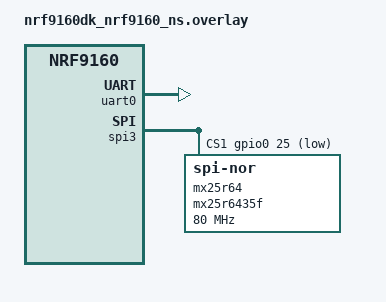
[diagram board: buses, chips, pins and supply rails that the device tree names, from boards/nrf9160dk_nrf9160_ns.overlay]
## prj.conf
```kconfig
#
# Copyright (c) 2020 Nordic Semiconductor ASA
#
# SPDX-License-Identifier: LicenseRef-Nordic-5-Clause
#
# General config
CONFIG_LOG=y
CONFIG_LOG_DEFAULT_LEVEL=3
CONFIG_STACK_SENTINEL=y
CONFIG_NEWLIB_LIBC=y
CONFIG_NEWLIB_LIBC_FLOAT_PRINTF=y
CONFIG_RING_BUFFER=y

# Segger RTT
CONFIG_USE_SEGGER_RTT=y
CONFIG_RTT_CONSOLE=y
CONFIG_UART_CONSOLE=n
CONFIG_LOG_BACKEND_RTT=y
CONFIG_LOG_BACKEND_UART=n

# Network
CONFIG_NETWORKING=y
CONFIG_NET_SOCKETS=y
CONFIG_NET_NATIVE=n

# Modem library
CONFIG_NRF_MODEM_LIB=y
# Align the max FD entry to NRF_MODEM_MAX_SOCKET_COUNT(8)
CONFIG_POSIX_MAX_FDS=8

# Handle modem fault
CONFIG_NRF_MODEM_LIB_ON_FAULT_APPLICATION_SPECIFIC=y

# Use GPIO
CONFIG_GPIO=y
CONFIG_GPIO_NRFX=y

# UART interface
CONFIG_SERIAL=y
CONFIG_UART_ASYNC_API=y
CONFIG_NRFX_TIMER2=y

# Stacks and heaps
CONFIG_MAIN_STACK_SIZE=4096
CONFIG_HEAP_MEM_POOL_SIZE=16384
CONFIG_SYSTEM_WORKQUEUE_STACK_SIZE=4096
CONFIG_AT_MONITOR_HEAP_SIZE=4096

# Device power management
CONFIG_PM_DEVICE=y

# FOTA
CONFIG_HTTP_PARSER_URL=y
CONFIG_FOTA_DOWNLOAD=y
CONFIG_FOTA_DOWNLOAD_PROGRESS_EVT=y
CONFIG_DFU_TARGET=y
CONFIG_DOWNLOAD_CLIENT=y
CONFIG_DOWNLOAD_CLIENT_STACK_SIZE=4096
CONFIG_DOWNLOAD_CLIENT_MAX_FILENAME_SIZE=2048
CONFIG_BOOTLOADER_MCUBOOT=y
CONFIG_IMG_MANAGER=y

# FLASH
CONFIG_FLASH=y
CONFIG_FLASH_PAGE_LAYOUT=y
CONFIG_FLASH_MAP=y
CONFIG_STREAM_FLASH=y
CONFIG_MPU_ALLOW_FLASH_WRITE=y
CONFIG_IMG_ERASE_PROGRESSIVELY=y

# Settings
CONFIG_SETTINGS=y
CONFIG_SETTINGS_FCB=y
CONFIG_FCB=y

# nRF Cloud
CONFIG_NRF_CLOUD_IPV6=n
CONFIG_NRF_CLOUD_MQTT=y
CONFIG_NRF_CLOUD_FOTA=n
CONFIG_NRF_CLOUD_AGPS=y
CONFIG_NRF_CLOUD_AGPS_FILTERED=n
CONFIG_NRF_CLOUD_PGPS=n
CONFIG_NRF_CLOUD_LOCATION=y
CONFIG_NRF_CLOUD_LOG_LEVEL_INF=y
CONFIG_NRF_CLOUD_GPS_LOG_LEVEL_INF=y
CONFIG_NRF_CLOUD_CLIENT_ID_SRC_INTERNAL_UUID=y
CONFIG_DATE_TIME=y
CONFIG_MODEM_INFO=y
CONFIG_MODEM_INFO_ADD_DATE_TIME=n

# UUID and JWT
CONFIG_MODEM_JWT=y

#
# SLM-specific configurations
#
CONFIG_SLM_CUSTOMIZED=n
CONFIG_SLM_LOG_LEVEL_INF=y
CONFIG_SLM_EXTERNAL_XTAL=n
CONFIG_SLM_START_SLEEP=n
CONFIG_SLM_DATAMODE_URC=n

# Debug configurations
#CONFIG_LOG_PRINTK=n

# Full fota definitions
CONFIG_NRF_CLOUD_FOTA_FULL_MODEM_UPDATE=y
CONFIG_FMFU_FDEV_SKIP_PREVALIDATION=n

# Full modem firmware URI check
CONFIG_SYS_HASH_FUNC32=y
CONFIG_SYS_HASH_FUNC32_CHOICE_MURMUR3=y
```

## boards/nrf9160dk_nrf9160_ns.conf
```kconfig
#
# Copyright (c) 2021 Nordic Semiconductor ASA
#
# SPDX-License-Identifier: LicenseRef-Nordic-5-Clause
#

# Configuration file for nRF9160DK.
# This file is merged with prj.conf in the application folder, and options
# set here will take precedence if they are present in both files.

# Use UART_0 (when working with PC terminal)
# unmask the following config
CONFIG_UART_0_NRF_HW_ASYNC_TIMER=2
CONFIG_UART_0_NRF_HW_ASYNC=y
CONFIG_SLM_WAKEUP_PIN=6
CONFIG_SLM_INDICATE_PIN=2

# Use UART_2 (when working with external MCU)
# unmask the following config
#CONFIG_UART_2_NRF_HW_ASYNC_TIMER=2
#CONFIG_UART_2_NRF_HW_ASYNC=y
#CONFIG_SLM_WAKEUP_PIN=31
#CONFIG_SLM_INDICATE_PIN=30

# Enable external flash for full fota
CONFIG_SPI=y
CONFIG_SPI_NOR=y
```

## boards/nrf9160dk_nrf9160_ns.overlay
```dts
/*
 * Copyright (c) 2021 Nordic Semiconductor ASA
 *
 * SPDX-License-Identifier: LicenseRef-Nordic-5-Clause
 */

/ {
	chosen {
		ncs,slm-uart = &uart0;
	};
};

&uart0 {
	status = "okay";
	hw-flow-control;
};

&uart2 {
	compatible = "nordic,nrf-uarte";
	current-speed = <115200>;
	status = "disabled";
	hw-flow-control;

	pinctrl-0 = <&uart2_default_alt>;
	pinctrl-1 = <&uart2_sleep_alt>;
	pinctrl-names = "default", "sleep";
};

&i2c2 {
	status = "disabled";
};

&pinctrl {
	uart2_default_alt: uart2_default_alt {
		group1 {
			psels = <NRF_PSEL(UART_RX, 0, 11)>;
			bias-pull-up;
		};
		group2 {
			psels = <NRF_PSEL(UART_TX, 0, 10)>,
				<NRF_PSEL(UART_RTS, 0, 12)>,
				<NRF_PSEL(UART_CTS, 0, 13)>;
		};
	};

	uart2_sleep_alt: uart2_sleep_alt {
		group1 {
			psels = <NRF_PSEL(UART_TX, 0, 10)>,
				<NRF_PSEL(UART_RX, 0, 11)>,
				<NRF_PSEL(UART_RTS, 0, 12)>,
				<NRF_PSEL(UART_CTS, 0, 13)>;
			low-power-enable;
		};
	};
};

&spi3 {
	cs-gpios = <&arduino_header 16 GPIO_ACTIVE_LOW>, /* D10 */
		   <&gpio0 25 GPIO_ACTIVE_LOW>;
	mx25r64: mx25r6435f@1 {
		compatible = "jedec,spi-nor";
		reg = <1>;
		status = "okay";
		spi-max-frequency = <80000000>;
		jedec-id = [c2 28 17];
		size = <67108864>;
	};
};
```

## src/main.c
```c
/*
 * Copyright (c) 2019 Nordic Semiconductor ASA
 *
 * SPDX-License-Identifier: LicenseRef-Nordic-5-Clause
 */
#include <zephyr/logging/log.h>
#include <zephyr/logging/log_ctrl.h>
#include <zephyr/kernel.h>
#include <stdio.h>
#include <zephyr/drivers/uart.h>
#include <zephyr/drivers/gpio.h>
#include <string.h>
#include <nrf_modem.h>
#include <hal/nrf_gpio.h>
#include <hal/nrf_power.h>
#include <hal/nrf_regulators.h>
#include <modem/nrf_modem_lib.h>
#include <zephyr/dfu/mcuboot.h>
#include <dfu/dfu_target.h>
#include <zephyr/sys/reboot.h>
#include <zephyr/drivers/clock_control.h>
#include <zephyr/drivers/clock_control/nrf_clock_control.h>
#include <pm_config.h>
#include <net/fota_download.h>
#include "slm_at_host.h"
#include "slm_at_fota.h"
#include "slm_settings.h"

LOG_MODULE_REGISTER(slm, CONFIG_SLM_LOG_LEVEL);

#define SLM_WQ_STACK_SIZE	KB(4)
#define SLM_WQ_PRIORITY		K_LOWEST_APPLICATION_THREAD_PRIO
static K_THREAD_STACK_DEFINE(slm_wq_stack_area, SLM_WQ_STACK_SIZE);

static const struct device *gpio_dev = DEVICE_DT_GET(DT_NODELABEL(gpio0));
static struct gpio_callback gpio_cb;
static struct k_work_delayable indicate_work;

/* global variable used across different files */
struct k_work_q slm_work_q;

/* global functions defined in different files */
int poweron_uart(void);

/* Forward declarations */
static void indicate_wk(struct k_work *work);

BUILD_ASSERT(CONFIG_SLM_WAKEUP_PIN >= 0, "Wake up pin not configured");

#if defined(CONFIG_NRF_MODEM_LIB_ON_FAULT_APPLICATION_SPECIFIC)
static void on_modem_failure_shutdown(struct k_work *item);
static void on_modem_failure_reinit(struct k_work *item);

K_WORK_DELAYABLE_DEFINE(modem_failure_shutdown_work, on_modem_failure_shutdown);
K_WORK_DELAYABLE_DEFINE(modem_failure_reinit_work, on_modem_failure_reinit);

void nrf_modem_fault_handler(struct nrf_modem_fault_info *fault_info)
{
	rsp_send("\r\n#XMODEM: FAULT,0x%x,0x%x\r\n", fault_info->reason,
		fault_info->program_counter);
	/* For now we wait 10 ms to give the trace handler time to process trace data. */
	k_work_reschedule(&modem_failure_shutdown_work, K_MSEC(10));
}

static void on_modem_failure_shutdown(struct k_work *work)
{
	int ret = nrf_modem_lib_shutdown();

	ARG_UNUSED(work);
	rsp_send("\r\n#XMODEM: SHUTDOWN,%d\r\n", ret);
	k_work_reschedule(&modem_failure_reinit_work, K_MSEC(10));
}

static void on_modem_failure_reinit(struct k_work *work)
{
	int ret = nrf_modem_lib_init();

	ARG_UNUSED(work);
	rsp_send("\r\n#XMODEM: INIT,%d\r\n", ret);
}
#endif /* CONFIG_NRF_MODEM_LIB_ON_FAULT_APPLICATION_SPECIFIC */

static int ext_xtal_control(bool xtal_on)
{
	int err = 0;
#if defined(CONFIG_SLM_EXTERNAL_XTAL)
	static struct onoff_manager *clk_mgr;

	if (xtal_on) {
		struct onoff_client cli = {};

		/* request external XTAL for UART */
		clk_mgr = z_nrf_clock_control_get_onoff(CLOCK_CONTROL_NRF_SUBSYS_HF);
		sys_notify_init_spinwait(&cli.notify);
		err = onoff_request(clk_mgr, &cli);
		if (err < 0) {
			LOG_ERR("Clock request failed: %d", err);
			return err;
		}
		while (sys_notify_fetch_result(&cli.notify, &err) < 0) {
			/*empty*/
		}
	} else {
		/* release external XTAL for UART */
		err = onoff_release(clk_mgr);
		if (err < 0) {
			LOG_ERR("Clock release failed: %d", err);
			return err;
		}
	}
#endif

	return err;
}

/* This function is safe to call twice after reset */
static int init_gpio(void)
{
	int err;

	if (!device_is_ready(gpio_dev)) {
		LOG_ERR("GPIO controller not ready");
		return -ENODEV;
	}
	err = gpio_pin_configure(gpio_dev, CONFIG_SLM_WAKEUP_PIN,
				 GPIO_INPUT | GPIO_PULL_UP | GPIO_ACTIVE_LOW);
	if (err) {
		LOG_ERR("GPIO_0 config error: %d", err);
		return err;
	}
#if (CONFIG_SLM_INDICATE_PIN >= 0)
	err = gpio_pin_configure(gpio_dev, CONFIG_SLM_INDICATE_PIN,
				 GPIO_OUTPUT_INACTIVE | GPIO_ACTIVE_LOW);
	if (err) {
		LOG_ERR("GPIO_0 config error: %d", err);
		return err;
	}
#endif

	return 0;
}

int indicate_start(void)
{
	int err = 0;

#if (CONFIG_SLM_INDICATE_PIN >= 0)
	if (k_work_delayable_is_pending(&indicate_work)) {
		return 0;
	}
	LOG_DBG("Start indicating");
	err = gpio_pin_set(gpio_dev, CONFIG_SLM_INDICATE_PIN, 1);
	if (err) {
		LOG_ERR("GPIO_0 set error: %d", err);
	} else {
		k_work_reschedule(&indicate_work, K_MSEC(CONFIG_SLM_INDICATE_TIME));
	}
#endif
	return err;
}

static void indicate_stop(void)
{
#if (CONFIG_SLM_INDICATE_PIN >= 0)
	if (gpio_pin_set(gpio_dev, CONFIG_SLM_INDICATE_PIN, 0) != 0) {
		LOG_WRN("GPIO_0 set error");
	}
	LOG_DBG("Stop indicating");
#endif
}

static void gpio_cb_func(const struct device *dev, struct gpio_callback *gpio_callback,
			 uint32_t pins)
{
	int err;

	if ((BIT(CONFIG_SLM_WAKEUP_PIN) & pins) == 0) {
		return;
	}
	LOG_INF("Exit idle");
	if (k_work_delayable_is_pending(&indicate_work)) {
		(void)k_work_cancel_delayable(&indicate_work);
		indicate_stop();
	}

	err = ext_xtal_control(true);
	if (err < 0) {
		LOG_WRN("Failed to enable ext XTAL: %d", err);
	}
	err = poweron_uart();
	if (err) {
		LOG_ERR("Failed to power on uart: %d", err);
		return;
	}

	gpio_pin_interrupt_configure(gpio_dev, CONFIG_SLM_WAKEUP_PIN, GPIO_INT_DISABLE);
	gpio_remove_callback(gpio_dev, gpio_callback);
}

void enter_idle(void)
{
	int err;

	gpio_init_callback(&gpio_cb, gpio_cb_func, BIT(CONFIG_SLM_WAKEUP_PIN));
	err = gpio_add_callback(gpio_dev, &gpio_cb);
	if (err) {
		LOG_ERR("GPIO_0 add callback error: %d", err);
		return;
	}
	err = gpio_pin_interrupt_configure(gpio_dev, CONFIG_SLM_WAKEUP_PIN, GPIO_INT_EDGE_FALLING);
	if (err) {
		LOG_ERR("GPIO_0 enable callback error: %d", err);
		return;
	}

	err = ext_xtal_control(false);
	if (err < 0) {
		LOG_WRN("Failed to disable ext XTAL: %d", err);
	}
}

void enter_sleep(void)
{
	/*
	 * Due to errata 4, Always configure PIN_CNF[n].INPUT before PIN_CNF[n].SENSE.
	 * At this moment WAKEUP_PIN has already been configured as INPUT at init_gpio().
	 */
	nrf_gpio_cfg_sense_set(CONFIG_SLM_WAKEUP_PIN, NRF_GPIO_PIN_SENSE_LOW);

	k_sleep(K_MSEC(100));

	nrf_regulators_system_off(NRF_REGULATORS_NS);
}

void enter_shutdown(void)
{
	/* De-configure GPIOs */
	gpio_pin_interrupt_configure(gpio_dev, CONFIG_SLM_WAKEUP_PIN, GPIO_INT_DISABLE);
	gpio_pin_configure(gpio_dev, CONFIG_SLM_WAKEUP_PIN, GPIO_DISCONNECTED);
	gpio_pin_configure(gpio_dev, CONFIG_SLM_INDICATE_PIN, GPIO_DISCONNECTED);

	k_sleep(K_MSEC(100));

	nrf_regulators_system_off(NRF_REGULATORS_NS);
}

bool handle_nrf_modem_lib_init_ret(int ret)
{
	switch (ret) {
	case 0:
		return false; /* Initialization successful, no action required. */
	case NRF_MODEM_DFU_RESULT_OK:
		LOG_INF("MODEM UPDATE OK. Will run new firmware");
		fota_stage = FOTA_STAGE_COMPLETE;
		fota_status = FOTA_STATUS_OK;
		fota_info = 0;
		break;
	case NRF_MODEM_DFU_RESULT_UUID_ERROR:
	case NRF_MODEM_DFU_RESULT_AUTH_ERROR:
		LOG_ERR("MODEM UPDATE ERROR %d. Will run old firmware", ret);
		fota_status = FOTA_STATUS_ERROR;
		fota_info = ret;
		break;
	case NRF_MODEM_DFU_RESULT_HARDWARE_ERROR:
	case NRF_MODEM_DFU_RESULT_INTERNAL_ERROR:
		LOG_ERR("MODEM UPDATE FATAL ERROR %d. Modem failure", ret);
		fota_status = FOTA_STATUS_ERROR;
		fota_info = ret;
		break;
	case NRF_MODEM_DFU_RESULT_VOLTAGE_LOW:
		LOG_ERR("MODEM UPDATE CANCELLED %d.", ret);
		LOG_ERR("Please reboot once you have sufficient power for the DFU");
		fota_stage = FOTA_STAGE_ACTIVATE;
		fota_status = FOTA_STATUS_ERROR;
		fota_info = ret;
		break;
	default:
		if (ret >= 0) {
			LOG_WRN("Unhandled nrf_modem_lib_init() return code %d.", ret);
			break;
		}
		/* All non-zero return codes other than DFU result codes are
		 * considered irrecoverable and a reboot is needed.
		 */
		LOG_ERR("nRF modem lib initialization failed, error: %d", ret);
		fota_status = FOTA_STATUS_ERROR;
		fota_info = ret;
		slm_settings_fota_save();
		LOG_WRN("Rebooting...");
		LOG_PANIC();
		sys_reboot(SYS_REBOOT_COLD);
		break;
	}
	return true;
}

static void handle_mcuboot_swap_ret(void)
{
	int err;

	/** When a TEST image is swapped to primary partition and booted by MCUBOOT,
	 * the API mcuboot_swap_type() will return BOOT_SWAP_TYPE_REVERT. By this type
	 * MCUBOOT means that the TEST image is booted OK and, if it's not confirmed
	 * next, it'll be swapped back to secondary partition and original application
	 * image will be restored to the primary partition (so-called Revert).
	 */
	int type = mcuboot_swap_type();

	fota_stage = FOTA_STAGE_COMPLETE;
	switch (type) {
	/** Swap to slot 1. Absent a confirm command, revert back on next boot. */
	case BOOT_SWAP_TYPE_TEST:
	/** Swap to slot 1, and permanently switch to booting its contents. */
	case BOOT_SWAP_TYPE_PERM:
		fota_status = FOTA_STATUS_ERROR;
		fota_info = -EBADF;
		break;
	/** Swap back to alternate slot. A confirm changes this state to NONE. */
	case BOOT_SWAP_TYPE_REVERT:
		err = boot_write_img_confirmed();
		if (err) {
			fota_status = FOTA_STATUS_ERROR;
			fota_info = err;
		} else {
			fota_status = FOTA_STATUS_OK;
			fota_info = 0;
		}
		break;
	/** Swap failed because image to be run is not valid */
	case BOOT_SWAP_TYPE_FAIL:
	default:
		break;
	}
}

int start_execute(void)
{
	int err;

	LOG_INF("Serial LTE Modem");
	err = ext_xtal_control(true);
	if (err < 0) {
		LOG_ERR("Failed to enable ext XTAL: %d", err);
		return err;
	}
	err = slm_at_host_init();
	if (err) {
		LOG_ERR("Failed to init at_host: %d", err);
		return err;
	}
	k_work_queue_start(&slm_work_q, slm_wq_stack_area,
			   K_THREAD_STACK_SIZEOF(slm_wq_stack_area),
			   SLM_WQ_PRIORITY, NULL);

	return 0;
}

static void indicate_wk(struct k_work *work)
{
	ARG_UNUSED(work);

	indicate_stop();
}

int main(void)
{
	uint32_t rr = nrf_power_resetreas_get(NRF_POWER_NS);

	nrf_power_resetreas_clear(NRF_POWER_NS, 0x70017);
	LOG_DBG("RR: 0x%08x", rr);
	k_work_init_delayable(&indicate_work, indicate_wk);

	/* Init GPIOs */
	if (init_gpio() != 0) {
		LOG_WRN("Failed to init gpio");
	}
	/* Init and load settings */
	if (slm_settings_init() != 0) {
		LOG_WRN("Failed to init slm settings");
	}

	const int ret = nrf_modem_lib_init();

	if (ret < 0) {
		LOG_ERR("Modem library init failed, err: %d", ret);
		return ret;
	}

	/* Post-FOTA handling */
	if (fota_stage != FOTA_STAGE_INIT) {
		if (fota_type == DFU_TARGET_IMAGE_TYPE_MODEM_DELTA ||
		    fota_type == DFU_TARGET_IMAGE_TYPE_FULL_MODEM) {
			slm_finish_modem_fota(ret);
		} else if (fota_type == DFU_TARGET_IMAGE_TYPE_MCUBOOT) {
			handle_mcuboot_swap_ret();
		} else {
			LOG_ERR("Unknown DFU type: %d", fota_type);
			fota_status = FOTA_STATUS_ERROR;
			fota_info = -EAGAIN;
		}
	}
#if defined(CONFIG_SLM_START_SLEEP)
	else {
		if ((rr & NRF_POWER_RESETREAS_OFF_MASK) ||  /* DETECT signal from GPIO*/
			(rr & NRF_POWER_RESETREAS_DIF_MASK)) {  /* Entering debug interface mode */
			return start_execute();
		}
		enter_sleep();
		return 0;
	}
#endif /* CONFIG_SLM_START_SLEEP */

	return start_execute();
}
```

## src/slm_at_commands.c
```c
/*
 * Copyright (c) 2021 Nordic Semiconductor ASA
 *
 * SPDX-License-Identifier: LicenseRef-Nordic-5-Clause
 */
#include <ctype.h>
#include <stdio.h>
#include <string.h>
#include <zephyr/init.h>
#include <zephyr/drivers/uart.h>
#include <zephyr/kernel.h>
#include <zephyr/logging/log_ctrl.h>
#include <zephyr/sys/reboot.h>
#include <zephyr/sys/util.h>
#include <zephyr/types.h>
#include <dfu/dfu_target.h>
#include <modem/at_cmd_parser.h>
#include <modem/lte_lc.h>
#include <modem/modem_jwt.h>
#include <modem/nrf_modem_lib.h>
#include "nrf_modem.h"
#include "ncs_version.h"

#include "slm_util.h"
#include "slm_settings.h"
#include "slm_at_host.h"
#include "slm_at_tcp_proxy.h"
#include "slm_at_udp_proxy.h"
#include "slm_at_socket.h"
#include "slm_at_icmp.h"
#include "slm_at_sms.h"
#include "slm_at_fota.h"
#if defined(CONFIG_SLM_NATIVE_TLS)
#include "slm_at_cmng.h"
#endif
#if defined(CONFIG_SLM_NRF_CLOUD)
#include "slm_at_nrfcloud.h"
#endif
#if defined(CONFIG_SLM_GNSS)
#include "slm_at_gnss.h"
#endif
#if defined(CONFIG_SLM_FTPC)
#include "slm_at_ftp.h"
#endif
#if defined(CONFIG_SLM_MQTTC)
#include "slm_at_mqtt.h"
#endif
#if defined(CONFIG_SLM_HTTPC)
#include "slm_at_httpc.h"
#endif
#if defined(CONFIG_SLM_TWI)
#include "slm_at_twi.h"
#endif
#if defined(CONFIG_SLM_GPIO)
#include "slm_at_gpio.h"
#endif
#if defined(CONFIG_SLM_CARRIER)
#include "slm_at_carrier.h"
#endif

LOG_MODULE_REGISTER(slm_at, CONFIG_SLM_LOG_LEVEL);

/* This delay is necessary for at_host to send response message in low baud rate. */
#define SLM_UART_RESPONSE_DELAY 50

/** @brief Shutdown modes. */
enum sleep_modes {
	SLEEP_MODE_INVALID,
	SLEEP_MODE_DEEP,
	SLEEP_MODE_IDLE
};

/** @brief AT command handler type. */
typedef int (*slm_at_handler_t) (enum at_cmd_type);

static struct slm_work_info {
	struct k_work_delayable uart_work;
	struct k_work_delayable sleep_work;
	uint32_t data;
} slm_work;

/* global variable defined in different files */
extern struct at_param_list at_param_list;
extern uint16_t datamode_time_limit;
extern struct uart_config slm_uart;

/* global functions defined in different files */
void enter_idle(void);
void enter_sleep(void);
void enter_shutdown(void);
int slm_uart_configure(void);
int poweroff_uart(void);
bool verify_datamode_control(uint16_t time_limit, uint16_t *time_limit_min);

/** @return Whether the modem is in the given functional mode. */
static bool is_modem_functional_mode(enum lte_lc_func_mode mode)
{
	int cfun;
	int rc = nrf_modem_at_scanf("AT+CFUN?", "+CFUN: %d", &cfun);

	return (rc == 1 && cfun == mode);
}

static void modem_power_off(void)
{
	/* First check whether the modem has already been turned off by the MCU. */
	if (!is_modem_functional_mode(LTE_LC_FUNC_MODE_POWER_OFF)) {

		/* "[...] there may be a delay until modem is disconnected from the network."
		 * https://infocenter.nordicsemi.com/topic/ps_nrf9160/chapters/pmu/doc/operationmodes/system_off_mode.html
		 * This will return once the modem responds, which means it has actually
		 * stopped. This has been observed to take between 1 and 2 seconds.
		 */
		nrf_modem_at_printf("AT+CFUN=0");
	}
}

/** @brief Handles AT#XSLMVER command.
 *  AT#XSLMVER
 *  AT#XSLMVER? not supported
 *  AT#XSLMVER=? not supported
 */
static int handle_at_slmver(enum at_cmd_type type)
{
	int ret = -EINVAL;

	if (type == AT_CMD_TYPE_SET_COMMAND) {
		char *libmodem = nrf_modem_build_version();

		rsp_send("\r\n#XSLMVER: %s,\"%s\"\r\n", STRINGIFY(NCS_VERSION_STRING), libmodem);
		ret = 0;
	}

	return ret;
}

static void go_sleep_wk(struct k_work *work)
{
	ARG_UNUSED(work);

	if (slm_work.data == SLEEP_MODE_IDLE) {
		if (poweroff_uart() == 0) {
			enter_idle();
		} else {
			LOG_ERR("failed to power off UART");
		}
	} else if (slm_work.data == SLEEP_MODE_DEEP) {
		slm_at_host_uninit();

		/* Only power off the modem if it has not been put
		 * in flight mode to allow reducing NVM wear.
		 */
		if (!is_modem_functional_mode(LTE_LC_FUNC_MODE_OFFLINE)) {
			modem_power_off();
		}
		enter_sleep();
	}
}

/** @brief Handles AT#XSLEEP commands.
 *  AT#XSLEEP=<sleep_mode>
 *  AT#XSLEEP? not supported
 *  AT#XSLEEP=?
 */
static int handle_at_sleep(enum at_cmd_type type)
{
	int ret = -EINVAL;

	if (type == AT_CMD_TYPE_SET_COMMAND) {
		ret = at_params_unsigned_int_get(&at_param_list, 1, &slm_work.data);
		if (ret) {
			return -EINVAL;
		}
		if (slm_work.data == SLEEP_MODE_DEEP || slm_work.data == SLEEP_MODE_IDLE) {
			k_work_reschedule(&slm_work.sleep_work, K_MSEC(100));
		} else {
			ret = -EINVAL;
		}
	} else if (type == AT_CMD_TYPE_TEST_COMMAND) {
		rsp_send("\r\n#XSLEEP: (%d,%d)\r\n", SLEEP_MODE_DEEP, SLEEP_MODE_IDLE);
		ret = 0;
	}

	return ret;
}

/** @brief Handles AT#XSHUTDOWN command.
 *  AT#XSHUTDOWN
 *  AT#XSHUTDOWN? not supported
 *  AT#XSHUTDOWN=? not supported
 */
static int handle_at_shutdown(enum at_cmd_type type)
{
	int ret = -EINVAL;

	if (type == AT_CMD_TYPE_SET_COMMAND) {
		rsp_send_ok();
		k_sleep(K_MSEC(SLM_UART_RESPONSE_DELAY));
		slm_at_host_uninit();
		modem_power_off();
		enter_shutdown();
	}

	return ret;
}

/** @brief Handles AT#XRESET command.
 *  AT#XRESET
 *  AT#XRESET? not supported
 *  AT#XRESET=? not supported
 */
static int handle_at_reset(enum at_cmd_type type)
{
	int ret = -EINVAL;

	if (type == AT_CMD_TYPE_SET_COMMAND) {
		rsp_send_ok();
		k_sleep(K_MSEC(SLM_UART_RESPONSE_DELAY));
		slm_at_host_uninit();
		modem_power_off();
		LOG_PANIC();
		sys_reboot(SYS_REBOOT_COLD);
	}

	return ret;
}

/** @brief Handles AT#XMODEMRESET command.
 *  AT#XMODEMRESET
 *  AT#XMODEMRESET? not supported
 *  AT#XMODEMRESET=? not supported
 */
static int handle_at_modemreset(enum at_cmd_type type)
{
	if (type != AT_CMD_TYPE_SET_COMMAND) {
		return -EINVAL;
	}

	/* The modem must be put in minimal function mode before being shut down. */
	modem_power_off();

	unsigned int step = 1;
	int ret;

	do {
		ret = nrf_modem_lib_shutdown();
		if (ret != 0) {
			break;
		}
		++step;

		ret = nrf_modem_lib_init();
		if (ret < 0) {
			break;
		}
		++step;

		if (ret > 0 || (fota_stage != FOTA_STAGE_INIT
					&& (fota_type == DFU_TARGET_IMAGE_TYPE_MODEM_DELTA ||
					    fota_type == DFU_TARGET_IMAGE_TYPE_FULL_MODEM))) {
			slm_finish_modem_fota(ret);
			slm_fota_post_process();
		}

		/* Success. */
		rsp_send("\r\n#XMODEMRESET: 0\r\n");
		return 0;
	} while (0);

	/* Error; print the step that failed and its error code. */
	rsp_send("\r\n#XMODEMRESET: %u,%d\r\n", step, ret);
	return 0;
}

/** @brief Handles AT#XUUID command.
 *  AT#XUUID
 *  AT#XUUID? not supported
 *  AT#XUUID=? not supported
 */
static int handle_at_uuid(enum at_cmd_type type)
{
	int ret;

	if (type != AT_CMD_TYPE_SET_COMMAND) {
		return -EINVAL;
	}

	struct nrf_device_uuid dev = {0};

	ret = modem_jwt_get_uuids(&dev, NULL);
	if (ret) {
		LOG_ERR("Get device UUID error: %d", ret);
	} else {
		rsp_send("\r\n#XUUID: %s\r\n", dev.str);
	}

	return ret;
}

static void set_uart_wk(struct k_work *work)
{
	int err;

	err = slm_uart_configure();
	if (err != 0) {
		LOG_ERR("slm_uart_configure: %d", err);
		return;
	}
	err = slm_settings_uart_save();
	if (err != 0) {
		LOG_ERR("slm_settings_uart_save: %d", err);
	}
}

/** @brief Handles AT#XSLMUART commands.
 *  AT#XSLMUART[=<baud_rate>]
 *  AT#XSLMUART?
 *  AT#XSLMUART=?
 */
static int handle_at_slmuart(enum at_cmd_type type)
{
	int ret = -EINVAL;

	if (type == AT_CMD_TYPE_SET_COMMAND) {
		uint32_t baudrate;

		ret = at_params_unsigned_int_get(&at_param_list, 1, &baudrate);

		if (ret == 0) {
			switch (baudrate) {
			case 1200:
			case 2400:
			case 4800:
			case 9600:
			case 14400:
			case 19200:
			case 38400:
			case 57600:
			case 115200:
			case 230400:
			case 460800:
			case 921600:
			case 1000000:
				slm_uart.baudrate = baudrate;
				break;
			default:
				LOG_ERR("Invalid uart baud rate provided. %d", baudrate);
				return -EINVAL;
			}
		}

		ret = k_work_reschedule(&slm_work.uart_work, K_MSEC(SLM_UART_RESPONSE_DELAY));
		if (ret > 0) {
			ret = 0;
		}
	}
	if (type == AT_CMD_TYPE_READ_COMMAND) {
		rsp_send("\r\n#XSLMUART: %d,%d\r\n", slm_uart.baudrate, slm_uart.flow_ctrl);
		ret = 0;
	}
	if (type == AT_CMD_TYPE_TEST_COMMAND) {
		rsp_send("\r\n#XSLMUART: (1200,2400,4800,9600,14400,19200,38400,57600,"
			 "115200,230400,460800,921600,1000000)\r\n");
		ret = 0;
	}
	return ret;
}

/** @brief Handles AT#XDATACTRL commands.
 *  AT#XDATACTRL=<time_limit>
 *  AT#XDATACTRL?
 *  AT#XDATACTRL=?
 */
static int handle_at_datactrl(enum at_cmd_type cmd_type)
{
	int ret = 0;
	uint16_t time_limit, time_limit_min;

	switch (cmd_type) {
	case AT_CMD_TYPE_SET_COMMAND:
		ret = at_params_unsigned_short_get(&at_param_list, 1, &time_limit);
		if (ret) {
			return ret;
		}
		if (time_limit > 0 && verify_datamode_control(time_limit, NULL)) {
			datamode_time_limit = time_limit;
		} else {
			return -EINVAL;
		}
		break;

	case AT_CMD_TYPE_READ_COMMAND:
		(void)verify_datamode_control(datamode_time_limit, &time_limit_min);
		rsp_send("\r\n#XDATACTRL: %d,%d\r\n", datamode_time_limit, time_limit_min);
		break;

	case AT_CMD_TYPE_TEST_COMMAND:
		rsp_send("\r\n#XDATACTRL=<time_limit>\r\n");
		break;

	default:
		break;
	}

	return ret;
}

/** @brief Handles AT#XCLAC command.
 *  AT#XCLAC
 *  AT#XCLAC? not supported
 *  AT#XCLAC=? not supported
 */
int handle_at_clac(enum at_cmd_type cmd_type);

/* TCP proxy commands */
int handle_at_tcp_server(enum at_cmd_type cmd_type);
int handle_at_tcp_client(enum at_cmd_type cmd_type);
int handle_at_tcp_send(enum at_cmd_type cmd_type);
int handle_at_tcp_hangup(enum at_cmd_type cmd_type);

/* UDP proxy commands */
int handle_at_udp_server(enum at_cmd_type cmd_type);
int handle_at_udp_client(enum at_cmd_type cmd_type);
int handle_at_udp_send(enum at_cmd_type cmd_type);

/* Socket-type TCPIP commands */
int handle_at_socket(enum at_cmd_type cmd_type);
int handle_at_secure_socket(enum at_cmd_type cmd_type);
int handle_at_socket_select(enum at_cmd_type cmd_type);
int handle_at_socketopt(enum at_cmd_type cmd_type);
int handle_at_secure_socketopt(enum at_cmd_type cmd_type);
int handle_at_bind(enum at_cmd_type cmd_type);
int handle_at_connect(enum at_cmd_type cmd_type);
int handle_at_listen(enum at_cmd_type cmd_type);
int handle_at_accept(enum at_cmd_type cmd_type);
int handle_at_send(enum at_cmd_type cmd_type);
int handle_at_recv(enum at_cmd_type cmd_type);
int handle_at_sendto(enum at_cmd_type cmd_type);
int handle_at_recvfrom(enum at_cmd_type cmd_type);
int handle_at_poll(enum at_cmd_type cmd_type);
int handle_at_getaddrinfo(enum at_cmd_type cmd_type);

#if defined(CONFIG_SLM_NATIVE_TLS)
int handle_at_xcmng(enum at_cmd_type cmd_type);
#endif

/* ICMP commands */
int handle_at_icmp_ping(enum at_cmd_type cmd_type);

#if defined(CONFIG_SLM_SMS)
/* SMS commands */
int handle_at_sms(enum at_cmd_type cmd_type);
#endif

/* FOTA commands */
int handle_at_fota(enum at_cmd_type cmd_type);

#if defined(CONFIG_SLM_NRF_CLOUD)
int handle_at_nrf_cloud(enum at_cmd_type cmd_type);
#if defined(CONFIG_NRF_CLOUD_LOCATION)
int handle_at_cellpos(enum at_cmd_type cmd_type);
int handle_at_wifipos(enum at_cmd_type cmd_type);
#endif
#endif

#if defined(CONFIG_SLM_GNSS)
int handle_at_gps(enum at_cmd_type cmd_type);
int handle_at_gps_delete(enum at_cmd_type cmd_type);
#if defined(CONFIG_SLM_NRF_CLOUD) && defined(CONFIG_NRF_CLOUD_AGPS)
int handle_at_agps(enum at_cmd_type cmd_type);
#endif
#if defined(CONFIG_SLM_NRF_CLOUD) && defined(CONFIG_NRF_CLOUD_PGPS)
int handle_at_pgps(enum at_cmd_type cmd_type);
#endif
#endif

#if defined(CONFIG_SLM_FTPC)
int handle_at_ftp(enum at_cmd_type cmd_type);
#endif
#if defined(CONFIG_SLM_TFTPC)
int handle_at_tftp(enum at_cmd_type cmd_type);
#endif

#if defined(CONFIG_SLM_MQTTC)
int handle_at_mqtt_connect(enum at_cmd_type cmd_type);
int handle_at_mqtt_publish(enum at_cmd_type cmd_type);
int handle_at_mqtt_subscribe(enum at_cmd_type cmd_type);
int handle_at_mqtt_unsubscribe(enum at_cmd_type cmd_type);
#endif

#if defined(CONFIG_SLM_HTTPC)
int handle_at_httpc_connect(enum at_cmd_type cmd_type);
int handle_at_httpc_request(enum at_cmd_type cmd_type);
#endif

#if defined(CONFIG_SLM_TWI)
int handle_at_twi_list(enum at_cmd_type cmd_type);
int handle_at_twi_write(enum at_cmd_type cmd_type);
int handle_at_twi_read(enum at_cmd_type cmd_type);
int handle_at_twi_write_read(enum at_cmd_type cmd_type);
#endif

#if defined(CONFIG_SLM_GPIO)
int handle_at_gpio_configure(enum at_cmd_type cmd_type);
int handle_at_gpio_operate(enum at_cmd_type cmd_type);
#endif

#if defined(CONFIG_SLM_CARRIER)
int handle_at_carrier(enum at_cmd_type cmd_type);
#endif

static struct slm_at_cmd {
	char *string;
	slm_at_handler_t handler;
} slm_at_cmd_list[] = {
	/* Generic commands */
	{"AT#XSLMVER", handle_at_slmver},
	{"AT#XSLEEP", handle_at_sleep},
	{"AT#XSHUTDOWN", handle_at_shutdown},
	{"AT#XRESET", handle_at_reset},
	{"AT#XMODEMRESET", handle_at_modemreset},
	{"AT#XUUID", handle_at_uuid},
	{"AT#XCLAC", handle_at_clac},
	{"AT#XSLMUART", handle_at_slmuart},
	{"AT#XDATACTRL", handle_at_datactrl},

	/* TCP proxy commands */
	{"AT#XTCPSVR", handle_at_tcp_server},
	{"AT#XTCPCLI", handle_at_tcp_client},
	{"AT#XTCPSEND", handle_at_tcp_send},
	{"AT#XTCPHANGUP", handle_at_tcp_hangup},

	/* UDP proxy commands */
	{"AT#XUDPSVR", handle_at_udp_server},
	{"AT#XUDPCLI", handle_at_udp_client},
	{"AT#XUDPSEND", handle_at_udp_send},

	/* Socket-type TCPIP commands */
	{"AT#XSOCKET", handle_at_socket},
	{"AT#XSSOCKET", handle_at_secure_socket},
	{"AT#XSOCKETSELECT", handle_at_socket_select},
	{"AT#XSOCKETOPT", handle_at_socketopt},
	{"AT#XSSOCKETOPT", handle_at_secure_socketopt},
	{"AT#XBIND", handle_at_bind},
	{"AT#XCONNECT", handle_at_connect},
	{"AT#XLISTEN", handle_at_listen},
	{"AT#XACCEPT", handle_at_accept},
	{"AT#XSEND", handle_at_send},
	{"AT#XRECV", handle_at_recv},
	{"AT#XSENDTO", handle_at_sendto},
	{"AT#XRECVFROM", handle_at_recvfrom},
	{"AT#XPOLL", handle_at_poll},
	{"AT#XGETADDRINFO", handle_at_getaddrinfo},

#if defined(CONFIG_SLM_NATIVE_TLS)
	{"AT#XCMNG", handle_at_xcmng},
#endif
	/* ICMP commands */
	{"AT#XPING", handle_at_icmp_ping},

#if defined(CONFIG_SLM_SMS)
	/* SMS commands */
	{"AT#XSMS", handle_at_sms},
#endif

	/* FOTA commands */
	{"AT#XFOTA", handle_at_fota},

#if defined(CONFIG_SLM_NRF_CLOUD)
	{"AT#XNRFCLOUD", handle_at_nrf_cloud},
#if defined(CONFIG_NRF_CLOUD_LOCATION)
	{"AT#XCELLPOS", handle_at_cellpos},
	{"AT#XWIFIPOS", handle_at_wifipos},
#endif
#endif

#if defined(CONFIG_SLM_GNSS)
	/* GNSS commands */
	{"AT#XGPS", handle_at_gps},
	{"AT#XGPSDEL", handle_at_gps_delete},
#if defined(CONFIG_SLM_NRF_CLOUD) && defined(CONFIG_NRF_CLOUD_AGPS)
	{"AT#XAGPS", handle_at_agps},
#endif
#if defined(CONFIG_SLM_NRF_CLOUD) && defined(CONFIG_NRF_CLOUD_PGPS)
	{"AT#XPGPS", handle_at_pgps},
#endif
#endif

#if defined(CONFIG_SLM_FTPC)
	/* FTP commands */
	{"AT#XFTP", handle_at_ftp},
#endif
#if defined(CONFIG_SLM_TFTPC)
	/* TFTP commands */
	{"AT#XTFTP", handle_at_tftp},
#endif

#if defined(CONFIG_SLM_MQTTC)
	{"AT#XMQTTCON", handle_at_mqtt_connect},
	{"AT#XMQTTPUB", handle_at_mqtt_publish},
	{"AT#XMQTTSUB", handle_at_mqtt_subscribe},
	{"AT#XMQTTUNSUB", handle_at_mqtt_unsubscribe},
#endif

#if defined(CONFIG_SLM_HTTPC)
	{"AT#XHTTPCCON", handle_at_httpc_connect},
	{"AT#XHTTPCREQ", handle_at_httpc_request},
#endif

#if defined(CONFIG_SLM_TWI)
	{"AT#XTWILS", handle_at_twi_list},
	{"AT#XTWIW", handle_at_twi_write},
	{"AT#XTWIR", handle_at_twi_read},
	{"AT#XTWIWR", handle_at_twi_write_read},
#endif

#if defined(CONFIG_SLM_GPIO)
	{"AT#XGPIOCFG", handle_at_gpio_configure},
	{"AT#XGPIO", handle_at_gpio_operate},
#endif

#if defined(CONFIG_SLM_CARRIER)
	{"AT#XCARRIER", handle_at_carrier},
#endif

};

int handle_at_clac(enum at_cmd_type cmd_type)
{
	int ret = -EINVAL;

	if (cmd_type == AT_CMD_TYPE_SET_COMMAND) {
		int total = ARRAY_SIZE(slm_at_cmd_list);

		for (int i = 0; i < total; i++) {
			rsp_send("%s\r\n", slm_at_cmd_list[i].string);
		}
		ret = 0;
	}

	return ret;
}

int slm_at_parse(const char *at_cmd)
{
	int ret = -ENOENT;
	int total = ARRAY_SIZE(slm_at_cmd_list);

	for (int i = 0; i < total; i++) {
		if (slm_util_cmd_casecmp(at_cmd, slm_at_cmd_list[i].string)) {
			enum at_cmd_type type = at_parser_cmd_type_get(at_cmd);

			at_params_list_clear(&at_param_list);
			ret = at_parser_params_from_str(at_cmd, NULL, &at_param_list);
			if (ret) {
				LOG_ERR("Failed to parse AT command %d", ret);
				return -EINVAL;
			}
			ret = slm_at_cmd_list[i].handler(type);
			break;
		}
	}

	return ret;
}

int slm_at_init(void)
{
	int err;

	k_work_init_delayable(&slm_work.uart_work, set_uart_wk);
	k_work_init_delayable(&slm_work.sleep_work, go_sleep_wk);

	err = slm_at_tcp_proxy_init();
	if (err) {
		LOG_ERR("TCP Server could not be initialized: %d", err);
		return -EFAULT;
	}
	err = slm_at_udp_proxy_init();
	if (err) {
		LOG_ERR("UDP Server could not be initialized: %d", err);
		return -EFAULT;
	}
	err = slm_at_socket_init();
	if (err) {
		LOG_ERR("TCPIP could not be initialized: %d", err);
		return -EFAULT;
	}
#if defined(CONFIG_SLM_NATIVE_TLS)
	err = slm_at_cmng_init();
	if (err) {
		LOG_ERR("TLS could not be initialized: %d", err);
		return -EFAULT;
	}
#endif
	err = slm_at_icmp_init();
	if (err) {
		LOG_ERR("ICMP could not be initialized: %d", err);
		return -EFAULT;
	}
#if defined(CONFIG_SLM_SMS)
	err = slm_at_sms_init();
	if (err) {
		LOG_ERR("SMS could not be initialized: %d", err);
		return -EFAULT;
	}
#endif
	err = slm_at_fota_init();
	if (err) {
		LOG_ERR("FOTA could not be initialized: %d", err);
		return -EFAULT;
	}
#if defined(CONFIG_SLM_NRF_CLOUD)
	err = slm_at_nrfcloud_init();
	if (err) {
		LOG_ERR("nRF Cloud could not be initialized: %d", err);
		return -EFAULT;
	}
#endif
#if defined(CONFIG_SLM_GNSS)
	err = slm_at_gnss_init();
	if (err) {
		LOG_ERR("GNSS could not be initialized: %d", err);
		return -EFAULT;
	}
#endif
#if defined(CONFIG_SLM_FTPC)
	err = slm_at_ftp_init();
	if (err) {
		LOG_ERR("FTP could not be initialized: %d", err);
		return -EFAULT;
	}
#endif
#if defined(CONFIG_SLM_MQTTC)
	err = slm_at_mqtt_init();
	if (err) {
		LOG_ERR("MQTT could not be initialized: %d", err);
		return -EFAULT;
	}
#endif
#if defined(CONFIG_SLM_HTTPC)
	err = slm_at_httpc_init();
	if (err) {
		LOG_ERR("HTTP could not be initialized: %d", err);
		return -EFAULT;
	}
#endif
#if defined(CONFIG_SLM_GPIO)
	err = slm_at_gpio_init();
	if (err) {
		LOG_ERR("GPIO could not be initialized: %d", err);
		return -EFAULT;
	}
#endif
#if defined(CONFIG_SLM_TWI)
	err = slm_at_twi_init();
	if (err) {
		LOG_ERR("TWI could not be initialized: %d", err);
		return -EFAULT;
	}
#endif
#if defined(CONFIG_SLM_CARRIER)
	err = slm_at_carrier_init();
	if (err) {
		LOG_ERR("LwM2M carrier could not be initialized: %d", err);
		return -EFAULT;
	}
#endif

	return err;
}

void slm_at_uninit(void)
{
	int err;

	err = slm_at_tcp_proxy_uninit();
	if (err) {
		LOG_WRN("TCP Server could not be uninitialized: %d", err);
	}
	err = slm_at_udp_proxy_uninit();
	if (err) {
		LOG_WRN("UDP Server could not be uninitialized: %d", err);
	}
	err = slm_at_socket_uninit();
	if (err) {
		LOG_WRN("TCPIP could not be uninitialized: %d", err);
	}
#if defined(CONFIG_SLM_NATIVE_TLS)
	err = slm_at_cmng_uninit();
	if (err) {
		LOG_WRN("TLS could not be uninitialized: %d", err);
	}
#endif
	err = slm_at_icmp_uninit();
	if (err) {
		LOG_WRN("ICMP could not be uninitialized: %d", err);
	}
#if defined(CONFIG_SLM_SMS)
	err = slm_at_sms_uninit();
	if (err) {
		LOG_WRN("SMS could not be uninitialized: %d", err);
	}
#endif
	err = slm_at_fota_uninit();
	if (err) {
		LOG_WRN("FOTA could not be uninitialized: %d", err);
	}
#if defined(CONFIG_SLM_NRF_CLOUD)
	err = slm_at_nrfcloud_uninit();
	if (err) {
		LOG_WRN("nRF Cloud could not be uninitialized: %d", err);
	}
#endif
#if defined(CONFIG_SLM_GNSS)
	err = slm_at_gnss_uninit();
	if (err) {
		LOG_WRN("GNSS could not be uninitialized: %d", err);
	}
#endif
#if defined(CONFIG_SLM_FTPC)
	err = slm_at_ftp_uninit();
	if (err) {
		LOG_WRN("FTP could not be uninitialized: %d", err);
	}
#endif
#if defined(CONFIG_SLM_MQTTC)
	err = slm_at_mqtt_uninit();
	if (err) {
		LOG_WRN("MQTT could not be uninitialized: %d", err);
	}
#endif
#if defined(CONFIG_SLM_HTTPC)
	err = slm_at_httpc_uninit();
	if (err) {
		LOG_WRN("HTTP could not be uninitialized: %d", err);
	}
#endif
#if defined(CONFIG_SLM_TWI)
	err = slm_at_twi_uninit();
	if (err) {
		LOG_ERR("TWI could not be uninit: %d", err);
	}
#endif
#if defined(CONFIG_SLM_GPIO)
	err = slm_at_gpio_uninit();
	if (err) {
		LOG_ERR("GPIO could not be uninit: %d", err);
	}
#endif
#if defined(CONFIG_SLM_NRF52_DFU)
	err = slm_at_dfu_uninit();
	if (err) {
		LOG_ERR("DFU could not be uninitialized: %d", err);
	}
#endif
#if defined(CONFIG_SLM_CARRIER)
	err = slm_at_carrier_uninit();
	if (err) {
		LOG_ERR("LwM2M carrier could not be uninitialized: %d", err);
	}
#endif
}
```

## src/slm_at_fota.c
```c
/*
 * Copyright (c) 2020 Nordic Semiconductor ASA
 *
 * SPDX-License-Identifier: LicenseRef-Nordic-5-Clause
 */
#include <stdint.h>
#include <stdio.h>
#include <modem/nrf_modem_lib.h>
#include <nrf_modem_delta_dfu.h>
#include <zephyr/kernel.h>
#include <zephyr/logging/log.h>
#include <zephyr/net/tls_credentials.h>
#include <zephyr/net/http/parser_url.h>
#include <zephyr/device.h>
#include <zephyr/storage/stream_flash.h>
#include <net/fota_download.h>
#include <dfu/dfu_target_full_modem.h>
#include <dfu/fmfu_fdev.h>
#include "slm_util.h"
#include "slm_settings.h"
#include "slm_at_host.h"
#include "slm_at_fota.h"
#include "pm_config.h"

LOG_MODULE_REGISTER(slm_fota, CONFIG_SLM_LOG_LEVEL);

/* file_uri: scheme://hostname[:port]path[?parameters] */
#define FILE_URI_MAX	CONFIG_DOWNLOAD_CLIENT_MAX_FILENAME_SIZE
#define SCHEMA_HTTP     "http"
#define SCHEMA_HTTPS	"https"
#define URI_HOST_MAX	CONFIG_DOWNLOAD_CLIENT_MAX_HOSTNAME_SIZE
#define URI_SCHEMA_MAX	8
#define ERASE_WAIT_TIME 20
#define ERASE_POLL_TIME 2

/* Some features need fota_download update */
#define FOTA_FUTURE_FEATURE	0

/* For extenal flash writing */
#define FMFU_BUF_SIZE	32

enum slm_fota_operation {
	SLM_FOTA_STOP = 0,
	SLM_FOTA_START_APP = 1,
	SLM_FOTA_START_MFW = 2,
	SLM_FOTA_PAUSE_RESUME = 4,
	SLM_FOTA_MFW_READ = 7,
	SLM_FOTA_ERASE_MFW = 9,
	SLM_FOTA_FULL_FOTA = 10
};

static char path[FILE_URI_MAX];
static char hostname[URI_HOST_MAX];

/* Global variable defined in different files */
extern struct at_param_list at_param_list;

/* Buffer used as temporary storage when downloading the modem firmware, and
 * when loading the modem firmware from external flash to the modem.
 */
static uint8_t fmfu_buf[FMFU_BUF_SIZE];

/* External flash devide for full fota storage */
static const struct device *flash_dev = DEVICE_DT_GET_ONE(jedec_spi_nor);

static int do_fota_mfw_read(void)
{
	int err;
	size_t offset = 0;
	size_t area = 0;

	err = nrf_modem_delta_dfu_area(&area);
	if (err) {
		LOG_ERR("failed in delta dfu area: %d", err);
		return err;
	}

	err = nrf_modem_delta_dfu_offset(&offset);
	if (err) {
		LOG_ERR("failed in delta dfu offset: %d", err);
		return err;
	}

	rsp_send("\r\n#XFOTA: %d,%d\r\n", area, offset);

	return 0;
}

static int do_fota_erase_mfw(void)
{
	int err;
	size_t offset = 0;
	bool in_progress = false;

	err = nrf_modem_delta_dfu_offset(&offset);
	if (err) {
		if (err == NRF_MODEM_DELTA_DFU_ERASE_PENDING) {
			in_progress = true;
		} else {
			LOG_ERR("failed in delta dfu offset: %d", err);
			return err;
		}
	}

	if (offset != NRF_MODEM_DELTA_DFU_OFFSET_DIRTY && !in_progress) {
		/* No need to erase. */
		return 0;
	}

	if (!in_progress) {
		err = nrf_modem_delta_dfu_erase();
		if (err) {
			LOG_ERR("failed in delta dfu erase: %d", err);
			return err;
		}
	}

	int time_elapsed = 0;

	do {
		k_sleep(K_SECONDS(ERASE_POLL_TIME));
		err = nrf_modem_delta_dfu_offset(&offset);
		if (err != 0 && err != NRF_MODEM_DELTA_DFU_ERASE_PENDING) {
			LOG_ERR("failed in delta dfu offset: %d", err);
			return err;
		}
		if (err == 0 && offset == 0) {
			LOG_INF("Erase completed");
			break;
		}
		time_elapsed += ERASE_POLL_TIME;
	} while (time_elapsed < ERASE_WAIT_TIME);

	if (time_elapsed >= ERASE_WAIT_TIME) {
		LOG_WRN("Erase timeout");
		return -ETIME;
	}

	return 0;
}

static int do_fota_start(int op, const char *file_uri, int sec_tag,
			 uint8_t pdn_id, enum dfu_target_image_type type)
{
	int ret;
	struct http_parser_url parser = {
		/* UNINIT checker fix, assumed UF_SCHEMA existence */
		.field_set = 0
	};
	char schema[URI_SCHEMA_MAX];

	http_parser_url_init(&parser);
	ret = http_parser_parse_url(file_uri, strlen(file_uri), 0, &parser);
	if (ret) {
		LOG_ERR("Parse URL error");
		return -EINVAL;
	}

	/* Schema stores http/https information */
	memset(schema, 0x00, 8);
	if (parser.field_set & (1 << UF_SCHEMA)) {
		if (parser.field_data[UF_SCHEMA].len < URI_SCHEMA_MAX) {
			strncpy(schema, file_uri + parser.field_data[UF_SCHEMA].off,
				parser.field_data[UF_SCHEMA].len);
		} else {
			LOG_ERR("URL schema length %d too long, exceeds the max length of %d",
				parser.field_data[UF_SCHEMA].len, URI_SCHEMA_MAX);
			return -ENOMEM;
		}
	} else {
		LOG_ERR("Parse schema error");
		return -EINVAL;
	}

	/* Path includes folder and file information */
	/* This stores also the query data after folder and file description */
	memset(path, 0x00, FILE_URI_MAX);
	if (parser.field_set & (1 << UF_PATH)) {
		/* Remove the leading '/' as some HTTP servers don't like it */
		if ((strlen(file_uri) - parser.field_data[UF_PATH].off + 1) < FILE_URI_MAX) {
			strncpy(path, file_uri + parser.field_data[UF_PATH].off + 1,
				strlen(file_uri) - parser.field_data[UF_PATH].off - 1);
		} else {
			LOG_ERR("URL path length %d too long, exceeds the max length of %d",
					strlen(file_uri) - parser.field_data[UF_PATH].off - 1,
					FILE_URI_MAX);
			return -ENOMEM;
		}
	} else {
		LOG_ERR("Parse path error");
		return -EINVAL;
	}

	/* Stores everything before path (schema, hostname, port) */
	memset(hostname, 0x00, URI_HOST_MAX);
	if (parser.field_set & (1 << UF_HOST)) {
		if (parser.field_data[UF_PATH].off < URI_HOST_MAX) {
			strncpy(hostname, file_uri, parser.field_data[UF_PATH].off);
		} else {
			LOG_ERR("URL host name length %d too long, exceeds the max length of %d",
					parser.field_data[UF_PATH].off, URI_HOST_MAX);
			return -ENOMEM;
		}
	} else {
		LOG_ERR("Parse host error");
		return -EINVAL;
	}

	/* start HTTP(S) FOTA */
	if (slm_util_cmd_casecmp(schema, SCHEMA_HTTPS)) {
		if (sec_tag == INVALID_SEC_TAG) {
			LOG_ERR("Missing sec_tag");
			return -EINVAL;
		}
		ret = fota_download_start_with_image_type(hostname, path, sec_tag, pdn_id, 0, type);
	} else if (slm_util_cmd_casecmp(schema, SCHEMA_HTTP)) {
		ret = fota_download_start_with_image_type(hostname, path, -1, pdn_id, 0, type);
	} else {
		ret = -EINVAL;
	}
	/* Send an URC if failed to start */
	if (ret) {
		rsp_send("\r\n#XFOTA: %d,%d,%d\r\n", FOTA_STAGE_DOWNLOAD,
			FOTA_STATUS_ERROR, ret);
	}

	fota_type = type;

	return ret;
}

static void fota_dl_handler(const struct fota_download_evt *evt)
{
	switch (evt->id) {
	case FOTA_DOWNLOAD_EVT_PROGRESS:
		fota_stage = FOTA_STAGE_DOWNLOAD;
		fota_status = FOTA_STATUS_OK;
		fota_info = evt->progress;
		rsp_send("\r\n#XFOTA: %d,%d,%d\r\n", fota_stage, fota_status, fota_info);
		break;
	case FOTA_DOWNLOAD_EVT_FINISHED:
		fota_stage = FOTA_STAGE_ACTIVATE;
		fota_info = 0;
		/* Save, in case reboot by reset */
		slm_settings_fota_save();
		rsp_send("\r\n#XFOTA: %d,%d\r\n", fota_stage, fota_status);
		break;
	case FOTA_DOWNLOAD_EVT_ERASE_PENDING:
		fota_stage = FOTA_STAGE_DOWNLOAD_ERASE_PENDING;
		rsp_send("\r\n#XFOTA: %d,%d\r\n", fota_stage, fota_status);
		break;
	case FOTA_DOWNLOAD_EVT_ERASE_DONE:
		rsp_send("\r\n#XFOTA: %d,%d\r\n", FOTA_STAGE_DOWNLOAD_ERASED, fota_status);
		/* Back to init now that the erasure is complete so that potential pre-start
		 * error codes are printed with the same stage than if there had been no erasure.
		 */
		fota_stage = FOTA_STAGE_INIT;
		break;
	case FOTA_DOWNLOAD_EVT_ERROR:
		fota_status = FOTA_STATUS_ERROR;
		fota_info = evt->cause;
		rsp_send("\r\n#XFOTA: %d,%d,%d\r\n", fota_stage, fota_status, fota_info);
		/* FOTA session terminated */
		slm_settings_fota_init();
		break;
	case FOTA_DOWNLOAD_EVT_CANCELLED:
		fota_status = FOTA_STATUS_CANCELLED;
		fota_info = 0;
		rsp_send("\r\n#XFOTA: %d,%d\r\n", fota_stage, fota_status);
		/* FOTA session terminated */
		slm_settings_fota_init();
		break;

	default:
		return;
	}
}

/** @brief Handles AT#XFOTA commands.
 *  AT#XFOTA=<op>[,<file_url>[,<sec_tag>[,<pdn_id>]]]
 *  AT#XFOTA? TEST command not supported
 *  AT#XFOTA=?
 */
int handle_at_fota(enum at_cmd_type cmd_type)
{
	int err = -EINVAL;
	uint16_t op;
	const struct dfu_target_full_modem_params full_modem_fota_params = {
		.buf = fmfu_buf,
		.len = sizeof(fmfu_buf),
		.dev = &(struct dfu_target_fmfu_fdev){ .dev = flash_dev, .offset = 0, .size = 0 }
	};
#if FOTA_FUTURE_FEATURE
	static bool paused;
#endif

	switch (cmd_type) {
	case AT_CMD_TYPE_SET_COMMAND:
		err = at_params_unsigned_short_get(&at_param_list, 1, &op);
		if (err < 0) {
			return err;
		}
		if (op == SLM_FOTA_STOP) {
			err = fota_download_cancel();
		} else if (op == SLM_FOTA_START_APP || op == SLM_FOTA_START_MFW ||
			   op == SLM_FOTA_FULL_FOTA) {
			char uri[FILE_URI_MAX];
			uint16_t pdn_id;
			int size = FILE_URI_MAX;
			sec_tag_t sec_tag = INVALID_SEC_TAG;
			enum dfu_target_image_type type;

			err = util_string_get(&at_param_list, 2, uri, &size);
			if (err) {
				return err;
			}
			if (at_params_valid_count_get(&at_param_list) > 3) {
				at_params_unsigned_int_get(&at_param_list, 3, &sec_tag);
			}
			if (op == SLM_FOTA_START_APP) {
				type = DFU_TARGET_IMAGE_TYPE_MCUBOOT;
			} else if (op == SLM_FOTA_FULL_FOTA)  {
				if (!device_is_ready(flash_dev)) {
					LOG_ERR("Flash device %s not ready\n", flash_dev->name);
					return -ENXIO;
					}

				/* Inside dfu_target_full_modem_cfg there is a check where the
				 * buffer size has to be multiplication by the block size.
				 */
				LOG_DBG("Write block size of the external flash is %d",
					flash_get_write_block_size(flash_dev));

				err = dfu_target_full_modem_cfg(&full_modem_fota_params);
				if (err != 0 && err != -EALREADY) {
					LOG_ERR("dfu_target_full_modem_cfg failed: %d\n", err);
					return err;
				}

				type = DFU_TARGET_IMAGE_TYPE_FULL_MODEM;
			} else {
				type = DFU_TARGET_IMAGE_TYPE_MODEM_DELTA;
			}
			if (at_params_valid_count_get(&at_param_list) > 4) {
				at_params_unsigned_short_get(&at_param_list, 4, &pdn_id);
				err = do_fota_start(op, uri, sec_tag, pdn_id, type);
			} else {
				err = do_fota_start(op, uri, sec_tag, 0, type);
			}
#if FOTA_FUTURE_FEATURE
		} else if (op == SLM_FOTA_PAUSE_RESUME) {
			if (paused) {
				fota_download_resume();
				paused = false;
			} else {
				fota_download_pause();
				paused = true;
			}
			err = 0;
#endif
		} else if (op == SLM_FOTA_MFW_READ) {
			err = do_fota_mfw_read();
		} else if (op == SLM_FOTA_ERASE_MFW) {
			err = do_fota_erase_mfw();
		} else {
			err = -EINVAL;
		} break;

	case AT_CMD_TYPE_TEST_COMMAND:
		rsp_send("\r\n#XFOTA: (%d,%d,%d,%d,%d,%d)[,<file_url>[,<sec_tag>[,<pdn_id>]]]\r\n",
			SLM_FOTA_STOP, SLM_FOTA_START_APP, SLM_FOTA_START_MFW,
			SLM_FOTA_MFW_READ, SLM_FOTA_ERASE_MFW, SLM_FOTA_FULL_FOTA);
		err = 0;
		break;

	default:
		break;
	}

	return err;
}

int slm_at_fota_init(void)
{
	return fota_download_init(fota_dl_handler);
}

int slm_at_fota_uninit(void)
{
	return 0;
}

void slm_fota_post_process(void)
{
	LOG_DBG("FOTA result %d,%d,%d", fota_stage, fota_status, fota_info);
	if (fota_stage != FOTA_STAGE_INIT) {
		/* report final result of last fota */
		if (fota_status == FOTA_STATUS_OK) {
			rsp_send("\r\n#XFOTA: %d,%d\r\n", fota_stage, fota_status);
		} else {
			rsp_send("\r\n#XFOTA: %d,%d,%d\r\n", fota_stage, fota_status,
				fota_info);
		}

		/* This condition might not be true in case of
		 * NRF_MODEM_DFU_RESULT_VOLTAGE_LOW. In that case we want to remember
		 * that a firmware update is still ongoing when a reset is next done.
		 */
		if (fota_stage != FOTA_STAGE_ACTIVATE) {
			/* FOTA session completed */
			slm_settings_fota_init();
		}
		slm_settings_fota_save();
	}
}

void slm_finish_modem_fota(int modem_lib_init_ret)
{
	int err;
	char buf[40];

	if (handle_nrf_modem_lib_init_ret(modem_lib_init_ret) ||
	   (fota_type == DFU_TARGET_IMAGE_TYPE_FULL_MODEM)) {

		LOG_INF("Re-initializing the modem due to ongoing modem firmware update.");

		if (fota_type == DFU_TARGET_IMAGE_TYPE_FULL_MODEM) {
			/* Full fota activation differs from delta modem fota. */
			LOG_INF("Applying full modem firmware update from external flash\n");

			err = nrf_modem_lib_shutdown();
			if (err != 0) {
				LOG_ERR("nrf_modem_lib_shutdown() failed: %d\n", err);
				return;
			}

			err = nrf_modem_lib_bootloader_init();
			if (err != 0) {
				LOG_ERR("nrf_modem_lib_bootloader_init() failed: %d\n", err);
				return;
			}

			/* Loading data from external flash to modem's flash. */
			err = fmfu_fdev_load(fmfu_buf, sizeof(fmfu_buf), flash_dev, 0);
			if (err != 0) {
				LOG_ERR("fmfu_fdev_load failed: %d\n", err);
				return;
			}

			err = nrf_modem_lib_shutdown();
			if (err != 0) {
				LOG_ERR("nrf_modem_lib_shutdown() failed: %d\n", err);
				return;
			}

			err = nrf_modem_lib_init();
			if (err != 0) {
				LOG_ERR("nrf_modem_lib_init() failed: %d\n", err);
				return;
			}
			fota_stage = FOTA_STAGE_COMPLETE;
			fota_status = FOTA_STATUS_OK;
			fota_info = 0;
			LOG_INF("Full modem firmware update succeeded. Will run new firmware");

			/* Extenal flash needs to be erased and internal counters cleared */
			err = dfu_target_reset();
			if (err != 0) {
				LOG_ERR("dfu_target_reset() failed: %d\n", err);
			} else {
				LOG_INF("External flash erase succeeded");
			}
		} else {
			/* The second init needs to be done regardless of the return value.
			 * Refer to the below link for more information on the procedure.
			 * https://developer.nordicsemi.com/nRF_Connect_SDK/doc/latest/nrfxlib/
			 * nrf_modem/doc/delta_dfu.html
			 * #reinitializing-the-modem-to-run-the-new-firmware
			 */
			modem_lib_init_ret = nrf_modem_lib_init();
			handle_nrf_modem_lib_init_ret(modem_lib_init_ret);

			nrf_modem_at_cmd(buf, sizeof(buf), "%s", "AT%SHORTSWVER");
			if (strstr(buf, "1.3.4") || strstr(buf, "1.3.5")) {
				/* Those versions suffer from a bug that provokes UICC failure
				 * (+CEREG: 90) after the update, preventing the modem from
				 * registering to the network.
				 */
				LOG_INF("Applying the workaround to a modem firmware update issue");
				nrf_modem_lib_shutdown();
				nrf_modem_lib_init();
			}
		}
	}
}
```
